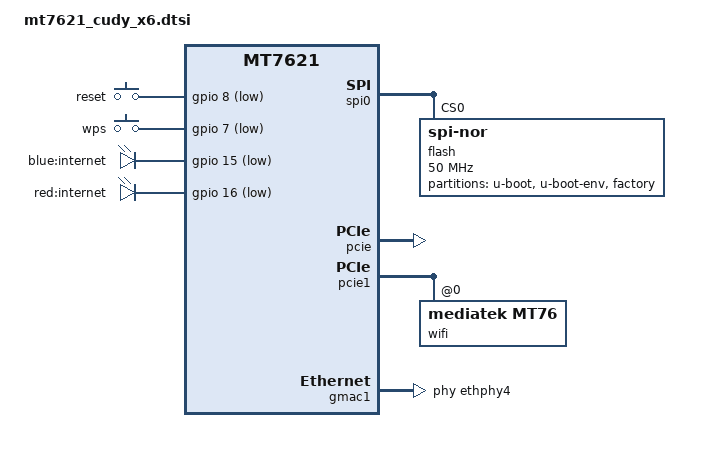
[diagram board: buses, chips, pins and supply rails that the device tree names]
// SPDX-License-Identifier: GPL-2.0-or-later OR MIT

#include "mt7621.dtsi"

#include <dt-bindings/gpio/gpio.h>
#include <dt-bindings/input/input.h>

/ {
	aliases {
		led-boot = &led_internet_blue;
		led-failsafe = &led_internet_red;
		led-running = &led_internet_blue;
		led-upgrade = &led_internet_red;
		label-mac-device = &gmac0;
	};

	chosen {
		bootargs = "console=ttyS0,115200";
	};

	keys {
		compatible = "gpio-keys";

		reset {
			label = "reset";
			gpios = <&gpio 8 GPIO_ACTIVE_LOW>;
			linux,code = <KEY_RESTART>;
		};

		wps {
			label = "wps";
			gpios = <&gpio 7 GPIO_ACTIVE_LOW>;
			linux,code = <KEY_WPS_BUTTON>;
		};
	};

	leds {
		compatible = "gpio-leds";

		led_internet_blue: internet_blue {
			label = "blue:internet";
			gpios = <&gpio 15 GPIO_ACTIVE_LOW>;
		};

		led_internet_red: internet_red {
			label = "red:internet";
			gpios = <&gpio 16 GPIO_ACTIVE_LOW>;
		};
	};

};

&spi0 {
	status = "okay";

	flash@0 {
		compatible = "jedec,spi-nor";
		reg = <0>;
		spi-max-frequency = <50000000>;

		partitions: partitions {
			compatible = "fixed-partitions";
			#address-cells = <1>;
			#size-cells = <1>;

			partition@0 {
				label = "u-boot";
				reg = <0x0 0x30000>;
				read-only;
			};

			partition@30000 {
				label = "u-boot-env";
				reg = <0x30000 0x10000>;
				read-only;
			};

			partition@40000 {
				label = "factory";
				reg = <0x40000 0x10000>;
				read-only;

				nvmem-layout {
					compatible = "fixed-layout";
					#address-cells = <1>;
					#size-cells = <1>;

					eeprom_factory_0: eeprom@0 {
						reg = <0x0 0xe00>;
					};
				};
			};

			/* additional partitions in DTS */
		};
	};
};

&pcie {
	status = "okay";
};

&pcie1 {
	wifi:wifi@0,0 {
		compatible = "mediatek,mt76";
		reg = <0x0000 0 0 0 0>;
		mediatek,disable-radar-background;
	};
};

&gmac1 {
	status = "okay";
	label = "wan";
	phy-handle = <&ethphy4>;
};

&ethphy4 {
	/delete-property/ interrupts;
};

&switch0 {
	ports {
		port@0 {
			status = "okay";
			label = "lan1";
		};

		port@1 {
			status = "okay";
			label = "lan2";
		};

		port@2 {
			status = "okay";
			label = "lan3";
		};

		port@3 {
			status = "okay";
			label = "lan4";
		};
	};
};

&state_default {
	gpio {
		groups = "uart3", "jtag";
		function = "gpio";
	};
};
